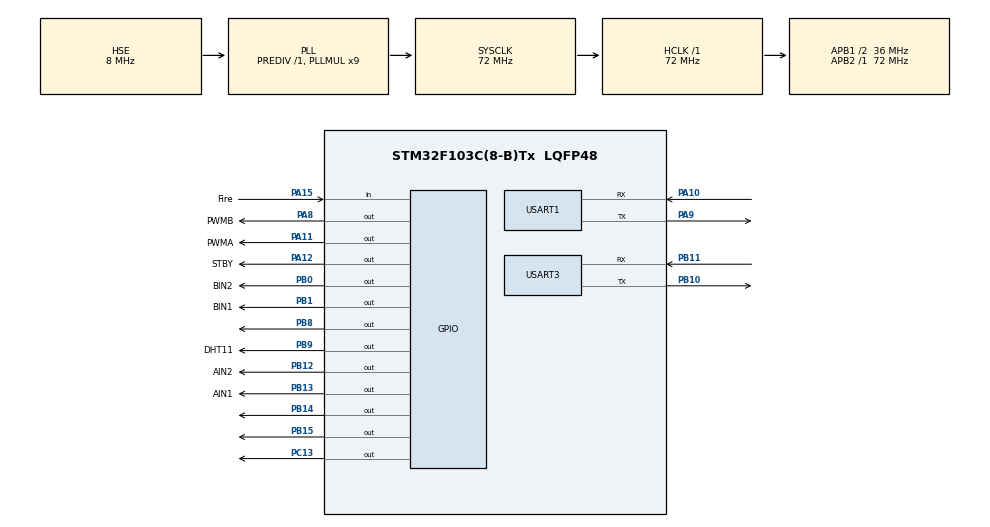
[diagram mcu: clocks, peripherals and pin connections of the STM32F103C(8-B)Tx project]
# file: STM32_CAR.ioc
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FREERTOS.Tasks01=Recive_Task,24,256,Recive_task,Default,NULL,Dynamic,NULL,NULL
Mcu.Family=STM32F1
Mcu.Name=STM32F103C(8-B)Tx
Mcu.Package=LQFP48
NVIC.PriorityGroup=NVIC_PRIORITYGROUP_4
NVIC.TIM2_IRQn=true\:15\:0\:false\:false\:true\:false\:false\:true
NVIC.TimeBase=TIM2_IRQn
NVIC.TimeBaseIP=TIM2
PA10.Mode=Asynchronous
PA10.Signal=USART1_RX
PA11.GPIO_Label=PWMA
PA11.PinState=GPIO_PIN_RESET
PA11.Signal=GPIO_Output
PA12.GPIO_Label=STBY
PA12.PinState=GPIO_PIN_RESET
PA12.Signal=GPIO_Output
PA13.Mode=Serial_Wire
PA13.Signal=SYS_JTMS-SWDIO
PA14.Mode=Serial_Wire
PA14.Signal=SYS_JTCK-SWCLK
PA15.GPIO_Label=Fire
PA15.Signal=GPIO_Input
PA8.GPIO_Label=PWMB
PA8.PinState=GPIO_PIN_RESET
PA8.Signal=GPIO_Output
PA9.Mode=Asynchronous
PA9.Signal=USART1_TX
PB0.GPIO_Label=BIN2
PB0.PinState=GPIO_PIN_RESET
PB0.Signal=GPIO_Output
PB1.GPIO_Label=BIN1
PB1.Signal=GPIO_Output
PB10.Mode=Asynchronous
PB10.Signal=USART3_TX
PB11.Mode=Asynchronous
PB11.Signal=USART3_RX
PB12.GPIO_Label=AIN2
PB12.PinState=GPIO_PIN_RESET
PB12.Signal=GPIO_Output
PB13.GPIO_Label=AIN1
PB13.GPIO_PuPd=GPIO_NOPULL
PB13.PinState=GPIO_PIN_RESET
PB13.Signal=GPIO_Output
PB14.GPIO_PuPd=GPIO_NOPULL
PB14.GPIO_Speed=GPIO_SPEED_FREQ_MEDIUM
PB14.Signal=GPIO_Output
PB15.GPIO_PuPd=GPIO_NOPULL
PB15.GPIO_Speed=GPIO_SPEED_FREQ_MEDIUM
PB15.Signal=GPIO_Output
PB8.GPIO_ModeDefaultOutputPP=GPIO_MODE_OUTPUT_PP
PB8.GPIO_PuPd=GPIO_PULLUP
PB8.PinState=GPIO_PIN_SET
PB8.Signal=GPIO_Output
PB9.GPIO_Label=DHT11
PB9.GPIO_ModeDefaultOutputPP=GPIO_MODE_OUTPUT_PP
PB9.GPIO_PuPd=GPIO_PULLUP
PB9.GPIO_Speed=GPIO_SPEED_FREQ_HIGH
PB9.PinState=GPIO_PIN_SET
PB9.Signal=GPIO_Output
PC13-TAMPER-RTC.GPIO_PuPd=GPIO_PULLUP
PC13-TAMPER-RTC.PinState=GPIO_PIN_SET
PC13-TAMPER-RTC.Signal=GPIO_Output
PD0-OSC_IN.Mode=HSE-External-Oscillator
PD0-OSC_IN.Signal=RCC_OSC_IN
PD1-OSC_OUT.Mode=HSE-External-Oscillator
PD1-OSC_OUT.Signal=RCC_OSC_OUT
ProjectManager.HeapSize=0x200
ProjectManager.StackSize=0x400
ProjectManager.TargetToolchain=SW4STM32
RCC.AHBFreq_Value=72000000
RCC.APB1CLKDivider=RCC_HCLK_DIV2
RCC.APB1Freq_Value=36000000
RCC.APB1TimFreq_Value=72000000
RCC.APB2Freq_Value=72000000
RCC.APB2TimFreq_Value=72000000
RCC.HCLKFreq_Value=72000000
RCC.PLLMUL=RCC_PLL_MUL9
RCC.PLLSourceVirtual=RCC_PLLSOURCE_HSE
RCC.SYSCLKFreq_VALUE=72000000
RCC.SYSCLKSource=RCC_SYSCLKSOURCE_PLLCLK
RCC.USBFreq_Value=72000000
USART1.VirtualMode=VM_ASYNC
USART3.VirtualMode=VM_ASYNC
VP_FREERTOS_VS_CMSIS_V2.Mode=CMSIS_V2
VP_SYS_VS_tim2.Mode=TIM2
board=custom

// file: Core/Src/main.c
/* USER CODE BEGIN Header */
/**
  ******************************************************************************
  * @file           : main.c
  * @brief          : Main program body
  ******************************************************************************
  * @attention
  *
  * <h2><center>&copy; Copyright (c) 2024 STMicroelectronics.
  * All rights reserved.</center></h2>
  *
  * This software component is licensed by ST under Ultimate Liberty license
  * SLA0044, the "License"; You may not use this file except in compliance with
  * the License. You may obtain a copy of the License at:
  *                             www.st.com/SLA0044
  *
  ******************************************************************************
  */
/* USER CODE END Header */
#include "main.h"
#include "cmsis_os.h"
#include "usart.h"
#include "gpio.h"

void SystemClock_Config(void);
void MX_FREERTOS_Init(void);

int main(void)
{

  /* MCU Configuration--------------------------------------------------------*/

  /* Reset of all peripherals, Initializes the Flash interface and the Systick. */
  HAL_Init();

  /* Configure the system clock */
  SystemClock_Config();

  /* Initialize all configured peripherals */
  MX_GPIO_Init();
  MX_USART3_UART_Init();
  MX_USART1_UART_Init();

  /* Init scheduler */
  osKernelInitialize();  /* Call init function for freertos objects (in freertos.c) */
  MX_FREERTOS_Init();
  /* Start scheduler */
  osKernelStart();

  /* We should never get here as control is now taken by the scheduler */
  /* Infinite loop */
  while (1)
  {

  }
}

void SystemClock_Config(void)
{
  RCC_OscInitTypeDef RCC_OscInitStruct = {0};
  RCC_ClkInitTypeDef RCC_ClkInitStruct = {0};

  /** Initializes the RCC Oscillators according to the specified parameters
  * in the RCC_OscInitTypeDef structure.
  */
  RCC_OscInitStruct.OscillatorType = RCC_OSCILLATORTYPE_HSE;
  RCC_OscInitStruct.HSEState = RCC_HSE_ON;
  RCC_OscInitStruct.HSEPredivValue = RCC_HSE_PREDIV_DIV1;
  RCC_OscInitStruct.HSIState = RCC_HSI_ON;
  RCC_OscInitStruct.PLL.PLLState = RCC_PLL_ON;
  RCC_OscInitStruct.PLL.PLLSource = RCC_PLLSOURCE_HSE;
  RCC_OscInitStruct.PLL.PLLMUL = RCC_PLL_MUL9;
  if (HAL_RCC_OscConfig(&RCC_OscInitStruct) != HAL_OK)
  {
    Error_Handler();
  }
  /** Initializes the CPU, AHB and APB buses clocks
  */
  RCC_ClkInitStruct.ClockType = RCC_CLOCKTYPE_HCLK|RCC_CLOCKTYPE_SYSCLK
                              |RCC_CLOCKTYPE_PCLK1|RCC_CLOCKTYPE_PCLK2;
  RCC_ClkInitStruct.SYSCLKSource = RCC_SYSCLKSOURCE_PLLCLK;
  RCC_ClkInitStruct.AHBCLKDivider = RCC_SYSCLK_DIV1;
  RCC_ClkInitStruct.APB1CLKDivider = RCC_HCLK_DIV2;
  RCC_ClkInitStruct.APB2CLKDivider = RCC_HCLK_DIV1;

  if (HAL_RCC_ClockConfig(&RCC_ClkInitStruct, FLASH_LATENCY_2) != HAL_OK)
  {
    Error_Handler();
  }
}

void HAL_TIM_PeriodElapsedCallback(TIM_HandleTypeDef *htim)
{
  if (htim->Instance == TIM2) {
    HAL_IncTick();
  }
}

void Error_Handler(void)
{
  __disable_irq();
  while (1)
  {
  }
}

/************************ (C) COPYRIGHT STMicroelectronics *****END OF FILE****/

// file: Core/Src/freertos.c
/* USER CODE BEGIN Header */
/**
  ******************************************************************************
  * File Name          : freertos.c
  * Description        : Code for freertos applications
  ******************************************************************************
  * @attention
  *
  * <h2><center>&copy; Copyright (c) 2024 STMicroelectronics.
  * All rights reserved.</center></h2>
  *
  * This software component is licensed by ST under Ultimate Liberty license
  * SLA0044, the "License"; You may not use this file except in compliance with
  * the License. You may obtain a copy of the License at:
  *                             www.st.com/SLA0044
  *
  ******************************************************************************
  */
/* USER CODE END Header */

#include "FreeRTOS.h"
#include "task.h"
#include "main.h"
#include "cmsis_os.h"

/* USER CODE BEGIN Includes */
#include"debug_com.h"
#include"change.h"
#include"my_menu .h"
#include"Fire.h"
#include"dht11.h"
#include"stdio.h"
/* USER CODE END Includes */

/* USER CODE BEGIN PTD */
extern u8g2_t u8g2;
/* USER CODE END PTD */

/* Definitions for Recive_Task */
osThreadId_t Recive_TaskHandle;
const osThreadAttr_t Recive_Task_attributes = {
  .name = "Recive_Task",
  .stack_size = 256 * 4,
  .priority = (osPriority_t) osPriorityNormal,
};

void Recive_task(void *argument);

void MX_FREERTOS_Init(void); /* (MISRA C 2004 rule 8.1) */

void MX_FREERTOS_Init(void) {

  /* Create the thread(s) */
  /* creation of Recive_Task */
  Recive_TaskHandle = osThreadNew(Recive_task, NULL, &Recive_Task_attributes);

}

void Recive_task(void *argument)
{
  /* USER CODE BEGIN Recive_task */

    my_u8g2_init();

    vTaskDelay(100);
  /* Infinite loop */
  for(;;)
  {

      Car_Control();
      Fire_reback();
      DH11_Task();
      u8g2_SetFont(&u8g2, u8g2_font_helvR12_tf);
      PrintVarFormat(&u8g2,40,20,u8g2_font_sirclivethebold_tr,DH11_data.temp);
      PrintVarFormat(&u8g2,60,40,u8g2_font_sirclivethebold_tr,DH11_data.humidity);
      u8g2_DrawStr(&u8g2,0,20,"temp:");
      u8g2_DrawStr(&u8g2,0,40,"humidity:");
      u8g2_SendBuffer(&u8g2);
//      printf("Temp is %d\r\n", DH11_data.temp);
//      printf("Humi is %d\r\n", DH11_data.humidity);
      osDelay(200);
  }
  /* USER CODE END Recive_task */
}

/************************ (C) COPYRIGHT STMicroelectronics *****END OF FILE****/
